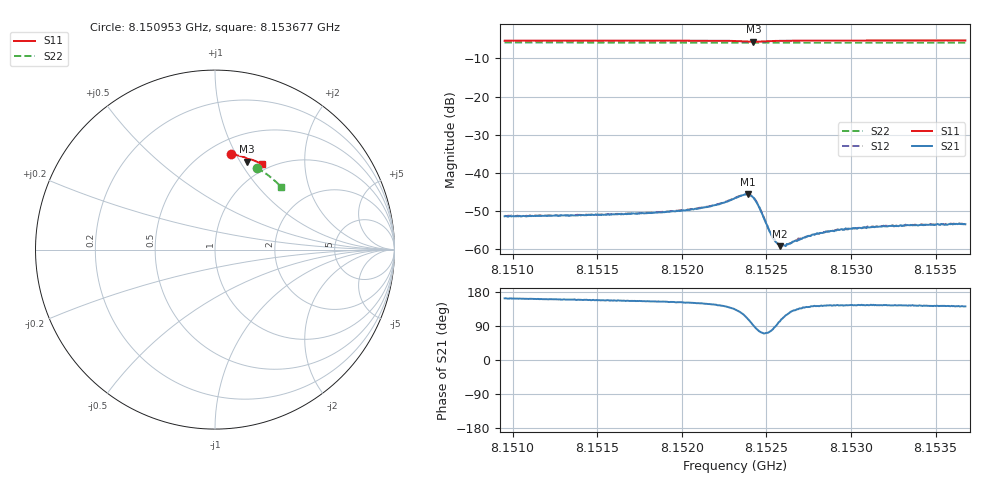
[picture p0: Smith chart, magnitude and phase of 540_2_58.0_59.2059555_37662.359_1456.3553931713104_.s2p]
#  HZ  S  RI  R  50.00
! Rohde & Schwarz Vector Network Analyzer
! Rohde-Schwarz,ZNB20-2Port,1311601062101988,3.16
! Created: UTC 3/21/2024, 1:14:28 AM
! freq[Hz]  re:S11  im:S11  re:S21  im:S21  re:S12  im:S12  re:S22  im:S22
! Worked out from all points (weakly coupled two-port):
!   401 points, 8.150953 GHz to 8.153677 GHz, reference 50 ohm
!   highest |S21| = -45.63 dB at 8.15239 GHz (marker M1); lowest = -59.2 dB at 8.15258 GHz (marker M2)
!   lowest |S11| = -5.6 dB at 8.152424 GHz (marker M3), VSWR 3.18, Z = 39.8 + j53.6 ohm
!   |S11| at or under -10 dB: nowhere
!   |S22| runs from -5.9 to -5.8 dB; largest |S21 - S12| = 0.00014
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8.1509528e9  0.0875 0.5321  -0.00257 0.000802  -0.00259 0.000846  0.2317 0.4552
8.151409e9  0.1192 0.5267  -0.00259 0.00102  -0.00259 0.00105  0.257 0.4407
8.1518653e9  0.1511 0.519  -0.00274 0.00131  -0.00273 0.00137  0.2816 0.4246
8.1520355e9  0.1633 0.515  -0.00286 0.00155  -0.00288 0.00163  0.2904 0.4184
8.1521581e9  0.1728 0.5114  -0.00303 0.00191  -0.00304 0.00196  0.2968 0.4137
8.1522398e9  0.1794 0.5077  -0.00321 0.00241  -0.00318 0.00246  0.3009 0.4104
8.1523147e9  0.1852 0.5018  -0.00322 0.00338  -0.00318 0.00343  0.3046 0.4073
8.1523623e9  0.1866 0.4953  -0.00263 0.00437  -0.00256 0.00449  0.3069 0.4053
8.1523896e9  0.1847 0.4913  -0.0017 0.00495  -0.00165 0.00494  0.308 0.4041
8.15241e9  0.1815 0.4897  -0.000751 0.00495  -0.000674 0.00499  0.3088 0.4034
8.1524236e9  0.1791 0.4902  -0.0001 0.00473  -8.83e-06 0.00474  0.3095 0.403
8.1524577e9  0.1756 0.4945  0.000866 0.00343  0.000913 0.00346  0.3108 0.4018
8.1525053e9  0.1782 0.501  0.000639 0.00193  0.000657 0.00193  0.3135 0.4003
8.1525394e9  0.182 0.5031  0.000204 0.00136  0.000235 0.00139  0.3152 0.3989
8.1525666e9  0.1851 0.5037  -0.000111 0.00116  -4.78e-05 0.00119  0.3166 0.3978
8.1525802e9  0.1865 0.5039  -0.000226 0.00107  -0.000217 0.00111  0.3173 0.3973
8.1526211e9  0.1906 0.504  -0.000575 0.00102  -0.000564 0.000995  0.3194 0.3957
8.1526892e9  0.1967 0.503  -0.000916 0.000945  -0.000953 0.000999  0.3227 0.3929
8.1527709e9  0.2033 0.5013  -0.00122 0.000955  -0.00119 0.001  0.3267 0.3894
8.1529275e9  0.2148 0.4975  -0.00145 0.00105  -0.00143 0.00107  0.3342 0.3828
8.1532271e9  0.2348 0.4892  -0.00164 0.00117  -0.00163 0.00118  0.348 0.3696
8.1536765e9  0.2632 0.4753  -0.00166 0.00132  -0.00169 0.00133  0.3677 0.3492
